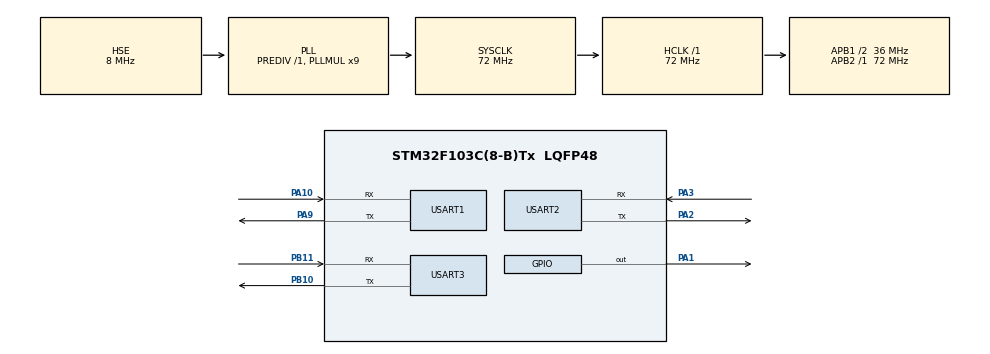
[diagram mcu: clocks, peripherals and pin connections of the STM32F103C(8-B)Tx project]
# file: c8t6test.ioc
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Mcu.Family=STM32F1
Mcu.Name=STM32F103C(8-B)Tx
Mcu.Package=LQFP48
NVIC.PriorityGroup=NVIC_PRIORITYGROUP_4
NVIC.USART1_IRQn=true\:0\:0\:false\:false\:true\:true\:true\:true
NVIC.USART2_IRQn=true\:0\:0\:false\:false\:true\:true\:true\:true
NVIC.USART3_IRQn=true\:0\:0\:false\:false\:true\:true\:true\:true
PA1.Signal=GPIO_Output
PA10.Mode=Asynchronous
PA10.Signal=USART1_RX
PA13.Mode=Serial_Wire
PA13.Signal=SYS_JTMS-SWDIO
PA14.Mode=Serial_Wire
PA14.Signal=SYS_JTCK-SWCLK
PA2.Mode=Asynchronous
PA2.Signal=USART2_TX
PA3.Mode=Asynchronous
PA3.Signal=USART2_RX
PA9.Mode=Asynchronous
PA9.Signal=USART1_TX
PB10.Mode=Asynchronous
PB10.Signal=USART3_TX
PB11.Mode=Asynchronous
PB11.Signal=USART3_RX
PD0-OSC_IN.Mode=HSE-External-Oscillator
PD0-OSC_IN.Signal=RCC_OSC_IN
PD1-OSC_OUT.Mode=HSE-External-Oscillator
PD1-OSC_OUT.Signal=RCC_OSC_OUT
ProjectManager.HeapSize=0x200
ProjectManager.StackSize=0x400
ProjectManager.TargetToolchain=MDK-ARM V5.32
RCC.AHBFreq_Value=72000000
RCC.APB1CLKDivider=RCC_HCLK_DIV2
RCC.APB1Freq_Value=36000000
RCC.APB1TimFreq_Value=72000000
RCC.APB2Freq_Value=72000000
RCC.APB2TimFreq_Value=72000000
RCC.HCLKFreq_Value=72000000
RCC.PLLMUL=RCC_PLL_MUL9
RCC.PLLSourceVirtual=RCC_PLLSOURCE_HSE
RCC.SYSCLKFreq_VALUE=72000000
RCC.SYSCLKSource=RCC_SYSCLKSOURCE_PLLCLK
RCC.USBFreq_Value=72000000
USART1.VirtualMode=VM_ASYNC
USART2.VirtualMode=VM_ASYNC
USART3.VirtualMode=VM_ASYNC
board=custom

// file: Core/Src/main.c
/* USER CODE BEGIN Header */
/**
  ******************************************************************************
  * @file           : main.c
  * @brief          : Main program body
  ******************************************************************************
  * @attention
  *
  * Copyright (c) 2025 STMicroelectronics.
  * All rights reserved.
  *
  * This software is licensed under terms that can be found in the LICENSE file
  * in the root directory of this software component.
  * If no LICENSE file comes with this software, it is provided AS-IS.
  *
  ******************************************************************************
  */
/* USER CODE END Header */
#include "main.h"
#include "usart.h"
#include "gpio.h"

/* USER CODE BEGIN Includes */
volatile int led_flag = 0;
/* USER CODE END Includes */

void SystemClock_Config(void);

/* USER CODE BEGIN 0 */
void esp_ap_init()
{
	HAL_GPIO_WritePin(GPIOA, GPIO_PIN_1, GPIO_PIN_SET);
	__HAL_UART_ENABLE_IT(&huart1, UART_IT_RXNE);  //receive interrupt
	__HAL_UART_ENABLE_IT(&huart1, UART_IT_IDLE);  //idle interrupt
	__HAL_UART_ENABLE_IT(&huart2, UART_IT_RXNE);  //receive interrupt
	__HAL_UART_ENABLE_IT(&huart2, UART_IT_IDLE);  //idle interrupt
	__HAL_UART_ENABLE_IT(&huart3, UART_IT_RXNE);  //receive interrupt
	__HAL_UART_ENABLE_IT(&huart3, UART_IT_IDLE);  //idle interrupt
	uint8_t at1[] = "AT+CWMODE=1\r\n";
	uint8_t at2[] = "AT+RST\r\n";
	uint8_t at3[] = "AT+CWJAP=\"esp8266\",\"66666666\"\r\n";
	uint8_t at4[] = "AT+CIPMUX=0\r\n";
	uint8_t at5[] = "AT+CIPSTART=\"TCP\",\"192.168.4.1\",8086\r\n";
	uint8_t at7[] = "AT+CIPSEND=4\r\n";
	uint8_t at8[] = "okok\r\n";
	HAL_UART_Transmit(&huart1,at1,sizeof(at1),100);
	HAL_Delay(1000);
	HAL_UART_Transmit(&huart1,at2,sizeof(at2),100);
	HAL_Delay(1000);
	HAL_UART_Transmit(&huart1,at3,sizeof(at3),100);
	HAL_Delay(1000);
	HAL_UART_Transmit(&huart1,at4,sizeof(at4),100);
	HAL_Delay(3000);
	HAL_UART_Transmit(&huart1,at5,sizeof(at5),100);
	HAL_Delay(5000);
	HAL_UART_Transmit(&huart1,at7,sizeof(at7),100);
	HAL_Delay(1000);
	HAL_UART_Transmit(&huart1,at8,sizeof(at8),100);
//	HAL_Delay(3000);
//	HAL_GPIO_WritePin(GPIOA, GPIO_PIN_1, GPIO_PIN_RESET);
}

/* USER CODE END 0 */

int main(void)
{

  /* MCU Configuration--------------------------------------------------------*/

  /* Reset of all peripherals, Initializes the Flash interface and the Systick. */
  HAL_Init();

  /* Configure the system clock */
  SystemClock_Config();

  /* Initialize all configured peripherals */
  MX_GPIO_Init();
  MX_USART1_UART_Init();
  MX_USART3_UART_Init();
  MX_USART2_UART_Init();
  /* USER CODE BEGIN 2 */
	esp_ap_init();
  /* USER CODE END 2 */

  /* Infinite loop */
  while (1)
  {

    /* USER CODE BEGIN 3 */
//		if(HAL_GPIO_ReadPin(GPIOA,GPIO_PIN_1) == GPIO_PIN_SET)
//			led_flag++;
//		if(led_flag>=500)
//		{
//			led_flag=0;
//			HAL_GPIO_WritePin(GPIOA,GPIO_PIN_1,GPIO_PIN_RESET);
//		}
		if(HAL_GPIO_ReadPin(GPIOA,GPIO_PIN_1) == GPIO_PIN_SET)
		{
			HAL_Delay(500);
			HAL_GPIO_WritePin(GPIOA,GPIO_PIN_1,GPIO_PIN_RESET);
		}
//		HAL_GPIO_TogglePin(GPIOA,GPIO_PIN_1);
  }
  /* USER CODE END 3 */
}

void SystemClock_Config(void)
{
  RCC_OscInitTypeDef RCC_OscInitStruct = {0};
  RCC_ClkInitTypeDef RCC_ClkInitStruct = {0};

  /** Initializes the RCC Oscillators according to the specified parameters
  * in the RCC_OscInitTypeDef structure.
  */
  RCC_OscInitStruct.OscillatorType = RCC_OSCILLATORTYPE_HSE;
  RCC_OscInitStruct.HSEState = RCC_HSE_ON;
  RCC_OscInitStruct.HSEPredivValue = RCC_HSE_PREDIV_DIV1;
  RCC_OscInitStruct.HSIState = RCC_HSI_ON;
  RCC_OscInitStruct.PLL.PLLState = RCC_PLL_ON;
  RCC_OscInitStruct.PLL.PLLSource = RCC_PLLSOURCE_HSE;
  RCC_OscInitStruct.PLL.PLLMUL = RCC_PLL_MUL9;
  if (HAL_RCC_OscConfig(&RCC_OscInitStruct) != HAL_OK)
  {
    Error_Handler();
  }

  /** Initializes the CPU, AHB and APB buses clocks
  */
  RCC_ClkInitStruct.ClockType = RCC_CLOCKTYPE_HCLK|RCC_CLOCKTYPE_SYSCLK
                              |RCC_CLOCKTYPE_PCLK1|RCC_CLOCKTYPE_PCLK2;
  RCC_ClkInitStruct.SYSCLKSource = RCC_SYSCLKSOURCE_PLLCLK;
  RCC_ClkInitStruct.AHBCLKDivider = RCC_SYSCLK_DIV1;
  RCC_ClkInitStruct.APB1CLKDivider = RCC_HCLK_DIV2;
  RCC_ClkInitStruct.APB2CLKDivider = RCC_HCLK_DIV1;

  if (HAL_RCC_ClockConfig(&RCC_ClkInitStruct, FLASH_LATENCY_2) != HAL_OK)
  {
    Error_Handler();
  }
}

void Error_Handler(void)
{
  __disable_irq();
  while (1)
  {
  }
}
